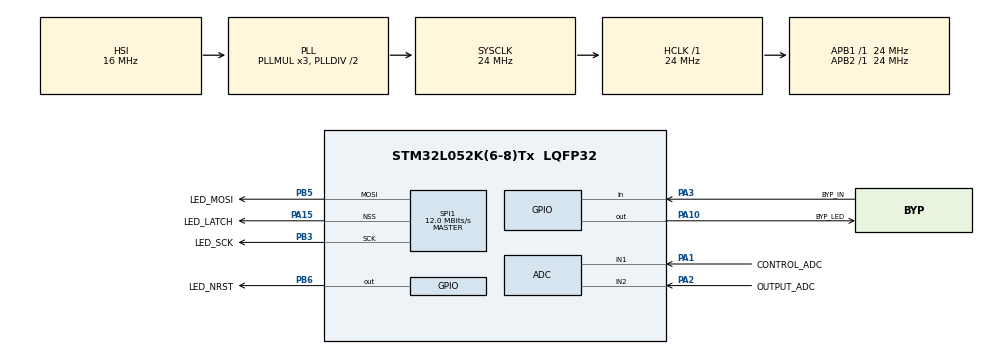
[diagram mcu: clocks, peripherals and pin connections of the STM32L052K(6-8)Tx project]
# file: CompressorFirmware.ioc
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ADC.ContinuousConvMode=DISABLE
ADC.EOCSelection=ADC_EOC_SEQ_CONV
ADC.ExternalTrigConv=ADC_EXTERNALTRIGCONV_T6_TRGO
ADC.SamplingTime=ADC_SAMPLETIME_12CYCLES_5
Dma.ADC.0.Direction=DMA_PERIPH_TO_MEMORY
Dma.ADC.0.Instance=DMA1_Channel1
Dma.ADC.0.MemDataAlignment=DMA_MDATAALIGN_HALFWORD
Dma.ADC.0.MemInc=DMA_MINC_ENABLE
Dma.ADC.0.Mode=DMA_CIRCULAR
Dma.ADC.0.PeriphDataAlignment=DMA_PDATAALIGN_HALFWORD
Dma.ADC.0.PeriphInc=DMA_PINC_DISABLE
Dma.ADC.0.Priority=DMA_PRIORITY_LOW
Dma.Request0=ADC
Mcu.Family=STM32L0
Mcu.Name=STM32L052K(6-8)Tx
Mcu.Package=LQFP32
NVIC.DMA1_Channel1_IRQn=true\:0\:0\:false\:false\:true\:false\:true\:true
NVIC.TIM21_IRQn=true\:0\:0\:false\:false\:true\:true\:true\:true
PA1.GPIO_Label=CONTROL_ADC
PA1.Mode=IN1
PA1.Signal=ADC_IN1
PA10.GPIO_Label=BYP_LED
PA10.GPIO_PuPd=GPIO_PULLDOWN
PA10.Signal=GPIO_Output
PA13.Mode=Serial_Wire
PA13.Signal=SYS_SWDIO
PA14.Mode=Serial_Wire
PA14.Signal=SYS_SWCLK
PA15.GPIO_Label=LED_LATCH
PA15.Mode=NSS_Signal_Hard_Output
PA15.Signal=SPI1_NSS
PA2.GPIO_Label=OUTPUT_ADC
PA2.Mode=IN2
PA2.Signal=ADC_IN2
PA3.GPIO_Label=BYP_IN
PA3.Signal=GPIO_Input
PB3.GPIO_Label=LED_SCK
PB3.Mode=TX_Only_Simplex_Unidirect_Master
PB3.Signal=SPI1_SCK
PB5.GPIO_Label=LED_MOSI
PB5.Mode=TX_Only_Simplex_Unidirect_Master
PB5.Signal=SPI1_MOSI
PB6.GPIO_Label=LED_NRST
PB6.Signal=GPIO_Output
ProjectManager.HeapSize=0x200
ProjectManager.StackSize=0x400
ProjectManager.TargetToolchain=CMake
RCC.AHBFreq_Value=24000000
RCC.APB1Freq_Value=24000000
RCC.APB1TimFreq_Value=24000000
RCC.APB2Freq_Value=24000000
RCC.APB2TimFreq_Value=24000000
RCC.HCLKFreq_Value=24000000
RCC.HSI16_VALUE=16000000
RCC.HSI48_VALUE=48000000
RCC.HSI_VALUE=16000000
RCC.LSE_VALUE=32768
RCC.MSI_VALUE=2097000
RCC.SYSCLKFreq_VALUE=24000000
RCC.SYSCLKSource=RCC_SYSCLKSOURCE_PLLCLK
RCC.VCOOutputFreq_Value=48000000
SPI1.CalculateBaudRate=12.0 MBits/s
SPI1.Direction=SPI_DIRECTION_2LINES
SPI1.Mode=SPI_MODE_MASTER
SPI1.VirtualNSS=VM_NSSHARD
SPI1.VirtualType=VM_MASTER
TIM21.Period=59999
TIM21.Prescaler=7
TIM6.Period=1999
TIM6.TIM_MasterOutputTrigger=TIM_TRGO_UPDATE
VP_TIM21_VS_ClockSourceINT.Mode=Internal
VP_TIM6_VS_ClockSourceINT.Mode=Enable_Timer
board=custom

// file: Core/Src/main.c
/* USER CODE BEGIN Header */
/**
  ******************************************************************************
  * @file           : main.c
  * @brief          : Main program body
  ******************************************************************************
  * @attention
  *
  * Copyright (c) 2026 STMicroelectronics.
  * All rights reserved.
  *
  * This software is licensed under terms that can be found in the LICENSE file
  * in the root directory of this software component.
  * If no LICENSE file comes with this software, it is provided AS-IS.
  *
  ******************************************************************************
  */
/* USER CODE END Header */
#include "main.h"
#include "stm32l0xx_hal_gpio.h"
#include "stm32l0xx_hal_tim.h"

ADC_HandleTypeDef hadc;
DMA_HandleTypeDef hdma_adc;

SPI_HandleTypeDef hspi1;

TIM_HandleTypeDef htim6;
TIM_HandleTypeDef htim21;

/* USER CODE BEGIN PV */
// buffer for the ADC values
// interleaved [IN1, IN2, IN1, IN2, ...], split into two halves for double buffering
// W current timer speeds that means about 187.5 LED updates per second
uint16_t adcBuf[ADC_BUF_SIZE * 4];
// points at the half of adcBuf that the DMA just finished filling
volatile uint16_t* currentBuffer = adcBuf;
volatile uint8_t bufferReady = 0;

norm_range_t controlRange;
norm_range_t outputRange;
volatile bool isBypassed = false;
volatile bool mainTimerRunning = false;
/* USER CODE END PV */

void SystemClock_Config(void);
static void MX_GPIO_Init(void);
static void MX_DMA_Init(void);
static void MX_SPI1_Init(void);
static void MX_ADC_Init(void);
static void MX_TIM6_Init(void);
static void MX_TIM21_Init(void);
/* USER CODE BEGIN PFP */
// call this to set up the norm_ranges
void init_norm_ranges();
// update the LEDs to reflect the latest levels
void update_level_leds(float avg1, float avg2);
/* USER CODE END PFP */

/* USER CODE BEGIN 0 */
float getADC1Average(uint16_t* buf){
  float sum = 0.0f;
  for(uint16_t i = 0; i < ADC_BUF_SIZE; ++i){
    sum += (float)buf[2 * i];
  }
  return sum / (float)ADC_BUF_SIZE;
}
float getADC2Average(uint16_t* buf){
  float sum = 0.0f;
  for(uint16_t i = 0; i < ADC_BUF_SIZE; ++i){
    sum += (float)buf[(2 * i) + 1];
  }

  return sum / (float)ADC_BUF_SIZE;
}
void init_norm_ranges(){
  norm_range_init(&controlRange, CONTROL_ADC_MIN, CONTROL_ADC_MAX, CONTROL_ADC_CENTER);
  norm_range_init(&outputRange, OUTPUT_ADC_MIN, OUTPUT_ADC_MAX, OUTPUT_ADC_CENTER);
}

void update_level_leds(float avg1, float avg2){
  const float controlNorm = norm_range_normalize(&controlRange, avg1);
  const float outputNorm = norm_range_normalize(&outputRange, avg2);
  uint16_t numLEDsControl = (uint16_t)((1.0f - controlNorm) * 8.0f);
  uint16_t numLEDsOutput = (uint16_t)(outputNorm * 8.0f);
  const uint8_t outputMask = 0xFF >> (8 - numLEDsOutput);
  const uint8_t controlMask = 0xFF >> (8 - numLEDsControl);
  uint8_t ledData[2] = {outputMask, controlMask};
  HAL_SPI_Transmit(&hspi1,  ledData, 2, HAL_MAX_DELAY);
}
/* USER CODE END 0 */

int main(void)
{

  /* MCU Configuration--------------------------------------------------------*/

  /* Reset of all peripherals, Initializes the Flash interface and the Systick. */
  HAL_Init();

  /* Configure the system clock */
  SystemClock_Config();

  /* Initialize all configured peripherals */
  MX_GPIO_Init();
  MX_DMA_Init();
  MX_SPI1_Init();
  MX_ADC_Init();
  MX_TIM6_Init();
  MX_TIM21_Init();
  /* USER CODE BEGIN 2 */
  // calibrate before the ADC is enabled
  if (HAL_ADCEx_Calibration_Start(&hadc, ADC_SINGLE_ENDED) != HAL_OK)
  {
    Error_Handler();
  }
  // arm the ADC + circular DMA, conversions wait for TIM6 TRGO
  if (HAL_ADC_Start_DMA(&hadc, (uint32_t*)adcBuf, ADC_BUF_SIZE * 4) != HAL_OK)
  {
    Error_Handler();
  }
  // start the timer last so the first trigger isn't missed
  if (HAL_TIM_Base_Start(&htim6) != HAL_OK)
  {
    Error_Handler();
  }
  mainTimerRunning = true;
  // set the bypass LED state
  HAL_GPIO_WritePin(BYP_LED_GPIO_Port, BYP_LED_Pin, (GPIO_PinState)!isBypassed);
  // start the timer to check the bypass switch
  if (HAL_TIM_Base_Start_IT(&htim21) != HAL_OK){
    Error_Handler();
  }
  // initialize the norm ranges
  init_norm_ranges();
  /* USER CODE END 2 */

  /* Infinite loop */
  /* USER CODE BEGIN WHILE */
  while (1)
  {
    if(bufferReady){
      const float lvl1 = getADC1Average(currentBuffer);
      const float lvl2 = getADC2Average(currentBuffer);
      update_level_leds(lvl1, lvl2);
      bufferReady = 0;
    }
    /* USER CODE END WHILE */

  }
}

void SystemClock_Config(void)
{
  RCC_OscInitTypeDef RCC_OscInitStruct = {0};
  RCC_ClkInitTypeDef RCC_ClkInitStruct = {0};

  /** Configure the main internal regulator output voltage
  */
  __HAL_PWR_VOLTAGESCALING_CONFIG(PWR_REGULATOR_VOLTAGE_SCALE1);

  /** Initializes the RCC Oscillators according to the specified parameters
  * in the RCC_OscInitTypeDef structure.
  */
  RCC_OscInitStruct.OscillatorType = RCC_OSCILLATORTYPE_HSI;
  RCC_OscInitStruct.HSIState = RCC_HSI_ON;
  RCC_OscInitStruct.HSICalibrationValue = RCC_HSICALIBRATION_DEFAULT;
  RCC_OscInitStruct.PLL.PLLState = RCC_PLL_ON;
  RCC_OscInitStruct.PLL.PLLSource = RCC_PLLSOURCE_HSI;
  RCC_OscInitStruct.PLL.PLLMUL = RCC_PLLMUL_3;
  RCC_OscInitStruct.PLL.PLLDIV = RCC_PLLDIV_2;
  if (HAL_RCC_OscConfig(&RCC_OscInitStruct) != HAL_OK)
  {
    Error_Handler();
  }

  /** Initializes the CPU, AHB and APB buses clocks
  */
  RCC_ClkInitStruct.ClockType = RCC_CLOCKTYPE_HCLK|RCC_CLOCKTYPE_SYSCLK
                              |RCC_CLOCKTYPE_PCLK1|RCC_CLOCKTYPE_PCLK2;
  RCC_ClkInitStruct.SYSCLKSource = RCC_SYSCLKSOURCE_PLLCLK;
  RCC_ClkInitStruct.AHBCLKDivider = RCC_SYSCLK_DIV1;
  RCC_ClkInitStruct.APB1CLKDivider = RCC_HCLK_DIV1;
  RCC_ClkInitStruct.APB2CLKDivider = RCC_HCLK_DIV1;

  if (HAL_RCC_ClockConfig(&RCC_ClkInitStruct, FLASH_LATENCY_1) != HAL_OK)
  {
    Error_Handler();
  }
}

static void MX_ADC_Init(void)
{

  ADC_ChannelConfTypeDef sConfig = {0};

  /** Configure the global features of the ADC (Clock, Resolution, Data Alignment and number of conversion)
  */
  hadc.Instance = ADC1;
  hadc.Init.OversamplingMode = DISABLE;
  hadc.Init.ClockPrescaler = ADC_CLOCK_SYNC_PCLK_DIV2;
  hadc.Init.Resolution = ADC_RESOLUTION_12B;
  hadc.Init.SamplingTime = ADC_SAMPLETIME_12CYCLES_5;
  hadc.Init.ScanConvMode = ADC_SCAN_DIRECTION_FORWARD;
  hadc.Init.DataAlign = ADC_DATAALIGN_RIGHT;
  hadc.Init.ContinuousConvMode = DISABLE;
  hadc.Init.DiscontinuousConvMode = DISABLE;
  hadc.Init.ExternalTrigConvEdge = ADC_EXTERNALTRIGCONVEDGE_RISING;
  hadc.Init.ExternalTrigConv = ADC_EXTERNALTRIGCONV_T6_TRGO;
  hadc.Init.DMAContinuousRequests = DISABLE;
  hadc.Init.EOCSelection = ADC_EOC_SEQ_CONV;
  hadc.Init.Overrun = ADC_OVR_DATA_PRESERVED;
  hadc.Init.LowPowerAutoWait = DISABLE;
  hadc.Init.LowPowerFrequencyMode = DISABLE;
  hadc.Init.LowPowerAutoPowerOff = DISABLE;
  if (HAL_ADC_Init(&hadc) != HAL_OK)
  {
    Error_Handler();
  }

  /** Configure for the selected ADC regular channel to be converted.
  */
  sConfig.Channel = ADC_CHANNEL_1;
  sConfig.Rank = ADC_RANK_CHANNEL_NUMBER;
  if (HAL_ADC_ConfigChannel(&hadc, &sConfig) != HAL_OK)
  {
    Error_Handler();
  }

  /** Configure for the selected ADC regular channel to be converted.
  */
  sConfig.Channel = ADC_CHANNEL_2;
  if (HAL_ADC_ConfigChannel(&hadc, &sConfig) != HAL_OK)
  {
    Error_Handler();
  }

}

static void MX_SPI1_Init(void)
{

  /* SPI1 parameter configuration*/
  hspi1.Instance = SPI1;
  hspi1.Init.Mode = SPI_MODE_MASTER;
  hspi1.Init.Direction = SPI_DIRECTION_2LINES;
  hspi1.Init.DataSize = SPI_DATASIZE_8BIT;
  hspi1.Init.CLKPolarity = SPI_POLARITY_LOW;
  hspi1.Init.CLKPhase = SPI_PHASE_1EDGE;
  hspi1.Init.NSS = SPI_NSS_HARD_OUTPUT;
  hspi1.Init.BaudRatePrescaler = SPI_BAUDRATEPRESCALER_2;
  hspi1.Init.FirstBit = SPI_FIRSTBIT_MSB;
  hspi1.Init.TIMode = SPI_TIMODE_DISABLE;
  hspi1.Init.CRCCalculation = SPI_CRCCALCULATION_DISABLE;
  hspi1.Init.CRCPolynomial = 7;
  if (HAL_SPI_Init(&hspi1) != HAL_OK)
  {
    Error_Handler();
  }

}

static void MX_TIM6_Init(void)
{

  TIM_MasterConfigTypeDef sMasterConfig = {0};

  htim6.Instance = TIM6;
  htim6.Init.Prescaler = 0;
  htim6.Init.CounterMode = TIM_COUNTERMODE_UP;
  htim6.Init.Period = 1999;
  htim6.Init.AutoReloadPreload = TIM_AUTORELOAD_PRELOAD_DISABLE;
  if (HAL_TIM_Base_Init(&htim6) != HAL_OK)
  {
    Error_Handler();
  }
  sMasterConfig.MasterOutputTrigger = TIM_TRGO_UPDATE;
  sMasterConfig.MasterSlaveMode = TIM_MASTERSLAVEMODE_DISABLE;
  if (HAL_TIMEx_MasterConfigSynchronization(&htim6, &sMasterConfig) != HAL_OK)
  {
    Error_Handler();
  }

}

static void MX_TIM21_Init(void)
{

  TIM_ClockConfigTypeDef sClockSourceConfig = {0};
  TIM_MasterConfigTypeDef sMasterConfig = {0};

  htim21.Instance = TIM21;
  htim21.Init.Prescaler = 7;
  htim21.Init.CounterMode = TIM_COUNTERMODE_UP;
  htim21.Init.Period = 59999;
  htim21.Init.ClockDivision = TIM_CLOCKDIVISION_DIV1;
  htim21.Init.AutoReloadPreload = TIM_AUTORELOAD_PRELOAD_DISABLE;
  if (HAL_TIM_Base_Init(&htim21) != HAL_OK)
  {
    Error_Handler();
  }
  sClockSourceConfig.ClockSource = TIM_CLOCKSOURCE_INTERNAL;
  if (HAL_TIM_ConfigClockSource(&htim21, &sClockSourceConfig) != HAL_OK)
  {
    Error_Handler();
  }
  sMasterConfig.MasterOutputTrigger = TIM_TRGO_RESET;
  sMasterConfig.MasterSlaveMode = TIM_MASTERSLAVEMODE_DISABLE;
  if (HAL_TIMEx_MasterConfigSynchronization(&htim21, &sMasterConfig) != HAL_OK)
  {
    Error_Handler();
  }

}

static void MX_DMA_Init(void)
{

  /* DMA controller clock enable */
  __HAL_RCC_DMA1_CLK_ENABLE();

  /* DMA interrupt init */
  /* DMA1_Channel1_IRQn interrupt configuration */
  HAL_NVIC_SetPriority(DMA1_Channel1_IRQn, 0, 0);
  HAL_NVIC_EnableIRQ(DMA1_Channel1_IRQn);

}

static void MX_GPIO_Init(void)
{
  GPIO_InitTypeDef GPIO_InitStruct = {0};

  /* GPIO Ports Clock Enable */
  __HAL_RCC_GPIOA_CLK_ENABLE();
  __HAL_RCC_GPIOB_CLK_ENABLE();

  /*Configure GPIO pin Output Level */
  HAL_GPIO_WritePin(BYP_LED_GPIO_Port, BYP_LED_Pin, GPIO_PIN_RESET);

  /*Configure GPIO pin Output Level */
  HAL_GPIO_WritePin(LED_NRST_GPIO_Port, LED_NRST_Pin, GPIO_PIN_RESET);

  /*Configure GPIO pin : BYP_IN_Pin */
  GPIO_InitStruct.Pin = BYP_IN_Pin;
  GPIO_InitStruct.Mode = GPIO_MODE_INPUT;
  GPIO_InitStruct.Pull = GPIO_NOPULL;
  HAL_GPIO_Init(BYP_IN_GPIO_Port, &GPIO_InitStruct);

  /*Configure GPIO pin : BYP_LED_Pin */
  GPIO_InitStruct.Pin = BYP_LED_Pin;
  GPIO_InitStruct.Mode = GPIO_MODE_OUTPUT_PP;
  GPIO_InitStruct.Pull = GPIO_PULLDOWN;
  GPIO_InitStruct.Speed = GPIO_SPEED_FREQ_LOW;
  HAL_GPIO_Init(BYP_LED_GPIO_Port, &GPIO_InitStruct);

  /*Configure GPIO pin : LED_NRST_Pin */
  GPIO_InitStruct.Pin = LED_NRST_Pin;
  GPIO_InitStruct.Mode = GPIO_MODE_OUTPUT_PP;
  GPIO_InitStruct.Pull = GPIO_NOPULL;
  GPIO_InitStruct.Speed = GPIO_SPEED_FREQ_LOW;
  HAL_GPIO_Init(LED_NRST_GPIO_Port, &GPIO_InitStruct);

}

/* USER CODE BEGIN 4 */
// first half of adcBuf is full, DMA is now writing the second half
void HAL_ADC_ConvHalfCpltCallback(ADC_HandleTypeDef* hadc)
{
  currentBuffer = adcBuf;
  bufferReady = 1;
}

// second half of adcBuf is full, DMA has wrapped back to the first half
void HAL_ADC_ConvCpltCallback(ADC_HandleTypeDef* hadc)
{
  currentBuffer = adcBuf + (ADC_BUF_SIZE * 2);
  bufferReady = 1;
}

void HAL_TIM_PeriodElapsedCallback(TIM_HandleTypeDef *htim){
  const bool currentPinState = (bool)HAL_GPIO_ReadPin(BYP_IN_GPIO_Port, BYP_IN_Pin);
  if(currentPinState != isBypassed){
    isBypassed = currentPinState;
    HAL_GPIO_WritePin(BYP_LED_GPIO_Port, BYP_LED_Pin, (GPIO_PinState)!isBypassed);
  }
}
/* USER CODE END 4 */

void Error_Handler(void)
{
  __disable_irq();
  while (1)
  {
  }
}
